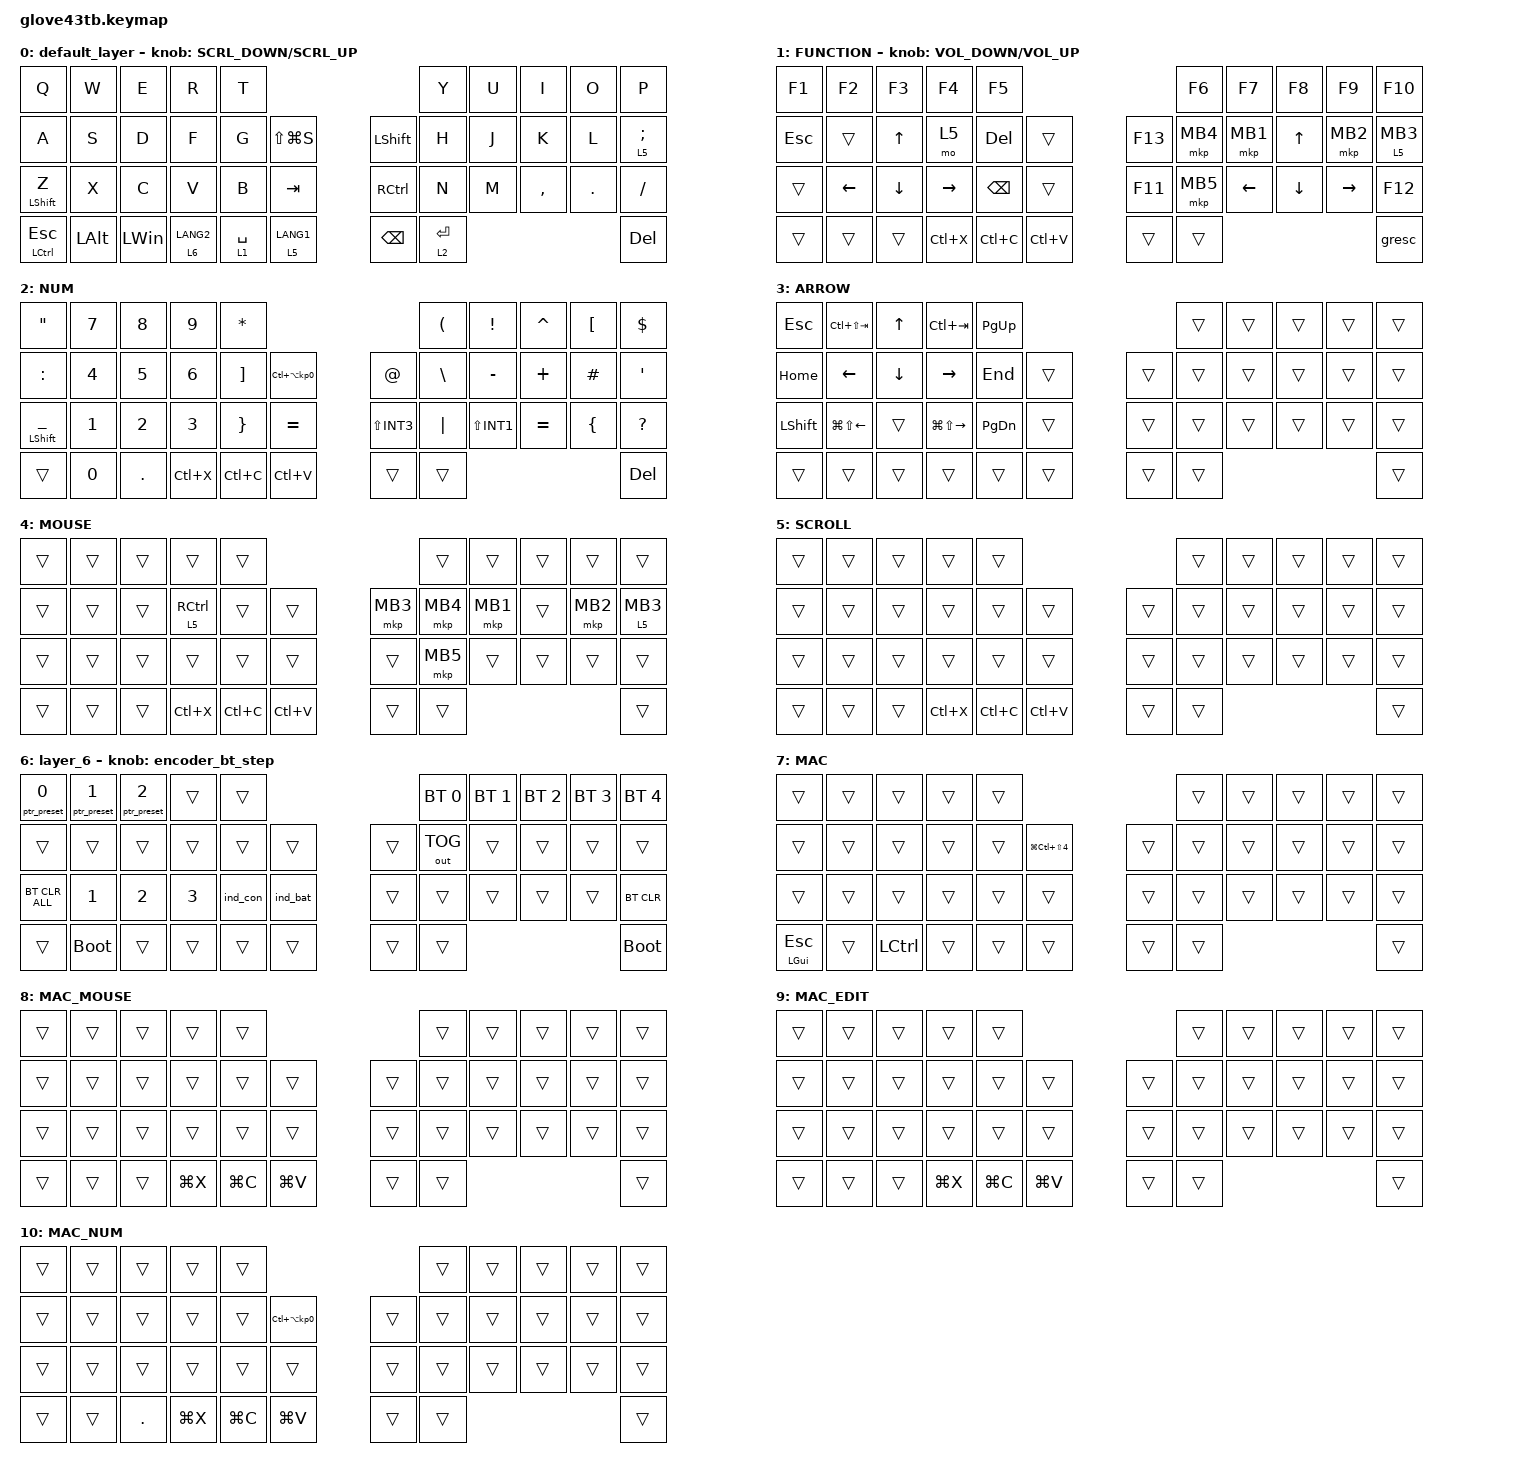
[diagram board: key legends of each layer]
#define ZMK_POINTING_DEFAULT_SCRL_VAL 150

#include <behaviors/rgbled_widget.dtsi>
#include <dt-bindings/zmk/input_transform.h>
#include <input/processors.dtsi>
#include <zephyr/dt-bindings/input/input-event-codes.h>
#include <behaviors.dtsi>
#include <dt-bindings/zmk/bt.h>
#include <dt-bindings/zmk/outputs.h>
#include <dt-bindings/zmk/keys.h>
#include <dt-bindings/zmk/pointing.h>

&mt {
    flavor = "balanced";
    quick-tap-ms = <0>;
};

&mmv {
    delay-ms = <20>;
    trigger-period-ms = <5>;
    time-to-max-speed-ms = <100>;
    acceleration-exponent = <2>;
};

&msc {
    delay-ms = <3>;
    trigger-period-ms = <3>;
    time-to-max-speed-ms = <100>;
    acceleration-exponent = <0>;
};

/ {
    input_processors {
        zip_wheel_scaler: zip_wheel_scaler {
            compatible = "zmk,input-processor-scaler";
            #input-processor-cells = <2>;
            type = <INPUT_EV_REL>;
            codes = <INPUT_REL_WHEEL>;
            track-remainders;
        };
    };
};

/ {
    combos {
        compatible = "zmk,combos";

        tab {
            bindings = <&kp TAB>;
            key-positions = <11 12>;
            layers = <0 4 7 8>;
        };

        shift_tab {
            bindings = <&kp LS(TAB)>;
            key-positions = <12 13>;
            layers = <0 4 7 8>;
        };

        muhennkann {
            bindings = <&to_layer_0 INT_MUHENKAN>;
            key-positions = <11 10>;
            layers = <0 4>;
        };

        muhennkann_mac {
            bindings = <&to_layer_0 LANG2>;
            key-positions = <11 10>;
            layers = <7 8>;
        };

        double_quotation {
            bindings = <&kp DOUBLE_QUOTES>;
            key-positions = <20 21>;
            layers = <0 4 7 8>;
        };

        eq {
            bindings = <&kp EQUAL>;
            key-positions = <24 25>;
            layers = <0 4 7 8>;
        };
    };

    conditional_layers {
        compatible = "zmk,conditional-layers";

        nav {
            if-layers = <1 2>;
            then-layer = <3>;
        };

        mac_mouse {
            if-layers = <4 7>;
            then-layer = <8>;
        };

        mac_edit_function {
            if-layers = <1 7>;
            then-layer = <9>;
        };

        mac_num {
            if-layers = <2 7>;
            then-layer = <10>;
        };

        mac_edit_scroll {
            if-layers = <5 7>;
            then-layer = <9>;
        };

        mac_edit_bt {
            if-layers = <6 7>;
            then-layer = <9>;
        };
    };

    macros {
        to_layer_0: to_layer_0 {
            compatible = "zmk,behavior-macro-one-param";
            #binding-cells = <1>;
            bindings = <&to 0 &macro_param_1to1 &kp MACRO_PLACEHOLDER>;
            label = "TO_LAYER_0";
        };
    };

    behaviors {
        lt_to_layer_0: lt_to_layer_0 {
            compatible = "zmk,behavior-hold-tap";
            label = "LAYER_TAP_TO_0";
            bindings = <&mo>, <&to_layer_0>;

            #binding-cells = <2>;
            tapping-term-ms = <200>;
        };

        lt_mkp: lt_mkp {
            compatible = "zmk,behavior-hold-tap";
            label = "LAYER_TAP_MOUSE_KEY";
            bindings = <&mo>, <&mkp>;

            #binding-cells = <2>;
            flavor = "tap-preferred";
            tapping-term-ms = <200>;
        };

        sensor_rotate_kp: sensor_rotate_kp {
            compatible = "zmk,behavior-sensor-rotate-var";
            #sensor-binding-cells = <2>;
            bindings = <&kp>, <&kp>;
        };

        mouse_wheel_scroll: mouse_wheel_scroll {
            compatible = "zmk,behavior-sensor-rotate-var";
            #sensor-binding-cells = <2>;
            bindings = <&msc>, <&msc>;

            tap-ms = <20>;
        };

        // 1クリックで2回トリガーされても接続先が1つだけ進むよう、400ms以内の連続切替を無視する
        bt_step: bt_step {
            compatible = "zmk,behavior-bt-step";
            display-name = "BT Step";
            #binding-cells = <1>;
            cooldown-ms = <400>;
        };

        // 音量を上げる方向(FUNCTION の C_VOLUME_UP と同じ向き)に回すと次の接続先
        encoder_bt_step: encoder_bt_step {
            compatible = "zmk,behavior-sensor-rotate";
            #sensor-binding-cells = <0>;
            bindings = <&bt_step 0>, <&bt_step 1>;
        };

        // トラックボールの低速時の倍率プリセット (glove43tb_R.overlay の min-gain-percents)
        ptr_preset: ptr_preset {
            compatible = "zmk,behavior-pointer-preset";
            display-name = "Pointer Preset";
            #binding-cells = <1>;
        };
    };

    keymap {
        compatible = "zmk,keymap";

        default_layer {
            bindings = <
&kp Q             &kp W         &kp E         &kp R                    &kp T                                                     &kp Y        &kp U  &kp I      &kp O    &kp P
&kp A             &kp S         &kp D         &kp F                    &kp G        &kp LS(LG(S))                &kp LEFT_SHIFT  &kp H        &kp J  &kp K      &kp L    &lt 5 SEMICOLON
&mt LEFT_SHIFT Z  &kp X         &kp C         &kp V                    &kp B        &kp TAB                      &kp RCTRL       &kp N        &kp M  &kp COMMA  &kp DOT  &kp SLASH
&mt LCTRL ESC     &kp LEFT_ALT  &kp LEFT_WIN  &lt_to_layer_0 6 LANG2   &lt 1 SPACE  &lt_to_layer_0 5 LANG1       &kp BACKSPACE   &lt 2 ENTER                             &kp DEL
            >;

            sensor-bindings = <&mouse_wheel_scroll SCRL_DOWN SCRL_UP>;
        };

        FUNCTION {
            bindings = <
&kp F1      &kp F2          &kp F3          &kp F4           &kp F5                                   &kp F6    &kp F7          &kp F8          &kp F9           &kp F10
&kp ESCAPE  &trans          &kp UP_ARROW    &mo 5            &kp DELETE     &trans        &kp F13     &mkp MB4  &mkp MB1        &kp UP_ARROW    &mkp MB2         &lt_mkp 5 MB3
&trans      &kp LEFT_ARROW  &kp DOWN_ARROW  &kp RIGHT_ARROW  &kp BACKSPACE  &trans        &kp F11     &mkp MB5  &kp LEFT_ARROW  &kp DOWN_ARROW  &kp RIGHT_ARROW  &kp F12
&trans      &trans          &trans          &kp LC(X)        &kp LC(C)      &kp LC(V)     &trans      &trans                                                     &gresc
            >;

            sensor-bindings = <&sensor_rotate_kp C_VOLUME_DOWN C_VOLUME_UP>;
        };

        NUM {
            bindings = <
&kp DOUBLE_QUOTES         &kp NUMBER_7  &kp NUMBER_8  &kp NUMBER_9  &kp ASTERISK                                                &kp LEFT_PARENTHESIS  &kp EXCLAMATION  &kp CARET  &kp LEFT_BRACKET  &kp DOLLAR
&kp COLON                 &kp NUMBER_4  &kp NUMBER_5  &kp NUMBER_6  &kp RIGHT_BRACKET  &kp LC(LA(KP_NUMBER_0))      &kp AT_SIGN   &kp BACKSLASH         &kp MINUS        &kp PLUS   &kp HASH          &kp SINGLE_QUOTE
&mt LEFT_SHIFT UNDERSCORE &kp NUMBER_1  &kp NUMBER_2  &kp NUMBER_3  &kp RIGHT_BRACE    &kp EQUAL                    &kp LS(INT3)  &kp PIPE              &kp LS(INT1)     &kp EQUAL  &kp LEFT_BRACE    &kp QUESTION
&trans                    &kp NUMBER_0  &kp DOT       &kp LC(X)     &kp LC(C)          &kp LC(V)                    &trans        &trans                                                                     &kp DEL
            >;
        };

        ARROW {
            bindings = <
&kp ESCAPE      &kp LC(LS(TAB))         &kp UP_ARROW    &kp LC(TAB)              &kp PAGE_UP                         &trans  &trans  &trans  &trans  &trans
&kp HOME        &kp LEFT_ARROW          &kp DOWN_ARROW  &kp RIGHT_ARROW          &kp END        &trans      &trans  &trans  &trans  &trans  &trans  &trans
&kp LEFT_SHIFT  &kp LG(LS(LEFT_ARROW))  &trans          &kp LG(LS(RIGHT_ARROW))  &kp PAGE_DOWN  &trans      &trans  &trans  &trans  &trans  &trans  &trans
&trans          &trans                  &trans          &trans                   &trans         &trans      &trans  &trans                          &trans
            >;
        };

        MOUSE {
            bindings = <
&trans  &trans  &trans  &trans       &trans                                   &trans     &trans    &trans  &trans    &trans
&trans  &trans  &trans  &lt 5 RCTRL  &trans     &trans         &mkp MB3       &mkp MB4   &mkp MB1  &trans  &mkp MB2  &lt_mkp 5 MB3
&trans  &trans  &trans  &trans       &trans     &trans         &trans         &mkp MB5   &trans    &trans  &trans    &trans
&trans  &trans  &trans  &kp LC(X)    &kp LC(C)  &kp LC(V)      &trans         &trans                                 &trans
            >;
        };

        SCROLL {
            bindings = <
&trans  &trans  &trans  &trans     &trans                            &trans  &trans  &trans  &trans  &trans
&trans  &trans  &trans  &trans     &trans     &trans         &trans  &trans  &trans  &trans  &trans  &trans
&trans  &trans  &trans  &trans     &trans     &trans         &trans  &trans  &trans  &trans  &trans  &trans
&trans  &trans  &trans  &kp LC(X)  &kp LC(C)  &kp LC(V)      &trans  &trans                          &trans
            >;
        };

        layer_6 {
            bindings = <
&ptr_preset 0   &ptr_preset 1 &ptr_preset 2 &trans        &trans                          &bt BT_SEL 0  &bt BT_SEL 1  &bt BT_SEL 2  &bt BT_SEL 3  &bt BT_SEL 4
&trans          &trans        &trans        &trans        &trans    &trans        &trans  &out OUT_TOG  &trans        &trans        &trans        &trans
&bt BT_CLR_ALL  &kp NUMBER_1  &kp NUMBER_2  &kp NUMBER_3  &ind_con  &ind_bat      &trans  &trans        &trans        &trans        &trans        &bt BT_CLR
&trans          &bootloader   &trans        &trans        &trans    &trans        &trans  &trans                                                  &bootloader
            >;

            sensor-bindings = <&encoder_bt_step>;
        };

        // 7-10: Mac 用 (BT プロファイル 3,4 接続時に src/os_layer.c が MAC を自動で有効化)
        MAC {
            bindings = <
&trans         &trans  &trans        &trans  &trans                                           &trans  &trans  &trans  &trans  &trans
&trans         &trans  &trans        &trans  &trans  &kp LG(LC(LS(NUMBER_4)))       &trans  &trans  &trans  &trans  &trans  &trans
&trans         &trans  &trans        &trans  &trans  &trans                         &trans  &trans  &trans  &trans  &trans  &trans
&mt LGUI ESC   &trans  &kp LCTRL     &trans  &trans  &trans                         &trans  &trans                          &trans
            >;
        };

        MAC_MOUSE {
            bindings = <
&trans  &trans  &trans  &trans     &trans                            &trans  &trans  &trans  &trans  &trans
&trans  &trans  &trans  &trans     &trans     &trans         &trans  &trans  &trans  &trans  &trans  &trans
&trans  &trans  &trans  &trans     &trans     &trans         &trans  &trans  &trans  &trans  &trans  &trans
&trans  &trans  &trans  &kp LG(X)  &kp LG(C)  &kp LG(V)      &trans  &trans                          &trans
            >;
        };

        MAC_EDIT {
            bindings = <
&trans  &trans  &trans  &trans     &trans                            &trans  &trans  &trans  &trans  &trans
&trans  &trans  &trans  &trans     &trans     &trans         &trans  &trans  &trans  &trans  &trans  &trans
&trans  &trans  &trans  &trans     &trans     &trans         &trans  &trans  &trans  &trans  &trans  &trans
&trans  &trans  &trans  &kp LG(X)  &kp LG(C)  &kp LG(V)      &trans  &trans                          &trans
            >;
        };

        // MAC より上に置くため、NUM の Win 位置(.) と内側キーをここで戻す
        MAC_NUM {
            bindings = <
&trans  &trans        &trans   &trans     &trans                                       &trans  &trans  &trans  &trans  &trans
&trans  &trans        &trans   &trans     &trans     &kp LC(LA(KP_NUMBER_0))   &trans  &trans  &trans  &trans  &trans  &trans
&trans  &trans        &trans   &trans     &trans     &trans                    &trans  &trans  &trans  &trans  &trans  &trans
&trans  &trans        &kp DOT  &kp LG(X)  &kp LG(C)  &kp LG(V)                 &trans  &trans                          &trans
            >;
        };
    };
};
